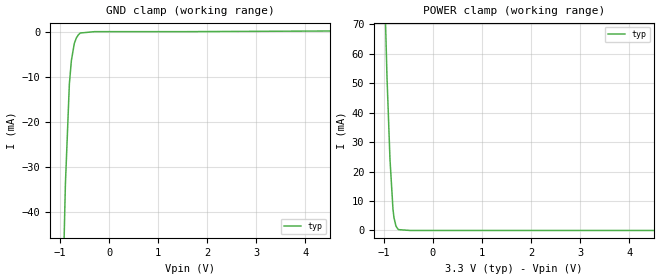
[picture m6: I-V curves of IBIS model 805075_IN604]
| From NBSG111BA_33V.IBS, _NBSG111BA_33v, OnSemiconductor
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| COPYRIGHT(C) MENTOR GRAPHICS CORPORATION 2001 ALL
| RIGHTS RESERVED. THIS WORK CONTAINS PROPRIETARY
| INFORMATION WHICH IS THE PROPERTY OF MENTOR GRAPHICS
| CORPORATION OR ITS LICENSORS. USE OF THESE MATERIALS
| IS SUBJECT TO THE TERMS BELOW.
| USE: YOU MAY USE IBIS MODELS SOLELY FOR DEVELOPING
| PRINTED CIRCUIT BOARD DESIGNS. NO OTHER USE OR
| DISTRIBUTION OF THESE MATERIALS IS PERMITTED.
| Model Application Version 1.89 2/18/99.
[Model] 805075_IN604
Model_type Input
Vinl = 800.0mV
Vinh = 2.000V
C_comp 500.0fF NA NA
| variable typ   min   max
[Voltage Range] 3.300V NA NA
[GND Clamp Reference] 0.000V NA NA
[POWER Clamp Reference] 3.300V NA NA
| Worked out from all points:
|   GND clamp passes 1 mA (typ) near -0.65 V on its own axis
|   POWER clamp passes 1 mA (typ) near -0.73 V on its own axis
[GND Clamp]
-3.3V     -1.374A    NA         NA
-1.014V   -89.9mA    NA         NA
-892mV    -33.9mA    NA         NA
-811mV    -11.6mA    NA         NA
-770mV    -6.4mA     NA         NA
-710mV    -2.6mA     NA         NA
-669mV    -1.4mA     NA         NA
-628mV    -700uA     NA         NA
-588mV    -300uA     NA         NA
-294mV    0A         NA         NA
1.551V    0A         NA         NA
6.6V      245.4uA    NA         NA
[POWER Clamp]
-3.3V     1.772A     NA         NA
-1.139V   178.5mA    NA         NA
-936mV    52.17mA    NA         NA
-875mV    24.17mA    NA         NA
-814mV    7.275mA    NA         NA
-794mV    4.376mA    NA         NA
-753mV    1.478mA    NA         NA
-713mV    480.3uA    NA         NA
-693mV    281.3uA    NA         NA
-462mV    0A         NA         NA
6.6V      0A         NA         NA
